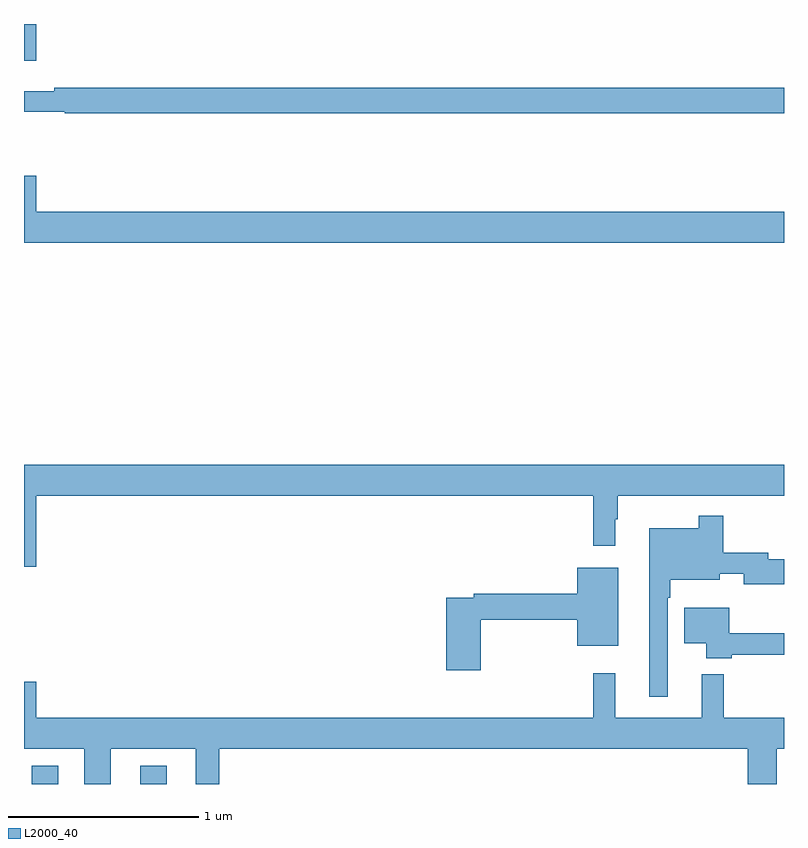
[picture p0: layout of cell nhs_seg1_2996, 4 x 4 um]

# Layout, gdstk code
import gdstk
lib = gdstk.Library(unit=1e-6, precision=1e-09)
def R(c, l, rs):  # rectangles x0, y0, x1, y1
    for r in rs: c.add(gdstk.rectangle(r[:2], r[2:], *l))
def P(c, l, *ps):  # polygons
    for p in ps: c.add(gdstk.Polygon(p, *l))
L2000_40 = (2000, 40)

nhs_seg1_2996 = lib.new_cell('nhs_seg1_2996')
R(nhs_seg1_2996, L2000_40, [(273.041,566.199,273.181,566.296), (273.611,566.199,273.751,566.296), (273,570.006,273.064,570.199)])
P(nhs_seg1_2996, L2000_40, [(277,569.864),(273.16,569.864),(273.16,569.845),(273,569.845),(273,569.736),(273.214,569.736),(273.214,569.728),(277,569.728)],
  [(277,569.212),(273.064,569.212),(273.064,569.401),(273,569.401),(273,569.048),(277,569.048)],
  [(273.064,567.716),(275.995,567.716),(275.995,567.453),(276.112,567.453),(276.112,567.593),(276.124,567.593),(276.124,567.716),(277,567.716),(277,567.88),(273,567.88),(273,567.342),(273.064,567.342)],
  [(276.387,567.179),(276.4,567.179),(276.4,567.275),(276.661,567.275),(276.661,567.305),(276.788,567.305),(276.788,567.251),(277,567.251),(277,567.381),(276.916,567.381),(276.916,567.415),(276.68,567.415),(276.68,567.61),(276.552,567.61),(276.552,567.544),(276.29,567.544),(276.29,566.658),(276.387,566.658)],
  [(275.405,567.064),(275.912,567.064),(275.912,566.927),(276.127,566.927),(276.127,567.337),(275.912,567.337),(275.912,567.2),(275.368,567.2),(275.368,567.18),(275.222,567.18),(275.222,566.799),(275.405,566.799)],
  [(276.725,566.88),(277,566.88),(277,566.993),(276.712,566.993),(276.712,567.127),(276.476,567.127),(276.476,566.939),(276.59,566.939),(276.59,566.861),(276.725,566.861)],
  [(273.456,566.384),(273.905,566.384),(273.905,566.199),(274.027,566.199),(274.027,566.384),(276.809,566.384),(276.809,566.199),(276.961,566.199),(276.961,566.384),(277,566.384),(277,566.548),(276.683,566.548),(276.683,566.776),(276.566,566.776),(276.566,566.548),(276.113,566.548),(276.113,566.782),(275.995,566.782),(275.995,566.548),(273.064,566.548),(273.064,566.737),(273,566.737),(273,566.384),(273.317,566.384),(273.317,566.199),(273.456,566.199)])

lib.write_gds('nhs_seg1_2996.gds')
